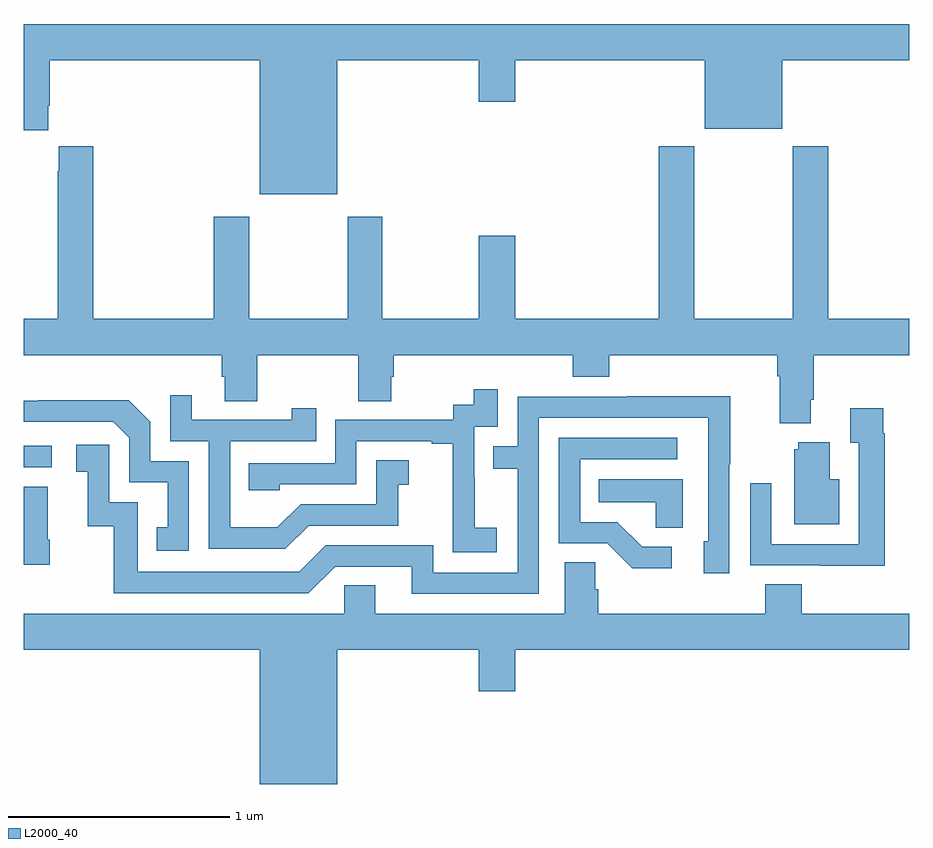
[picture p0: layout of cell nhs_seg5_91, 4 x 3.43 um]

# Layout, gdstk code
import gdstk
lib = gdstk.Library(unit=1e-6, precision=1e-09)
def R(c, l, rs):  # rectangles x0, y0, x1, y1
    for r in rs: c.add(gdstk.rectangle(r[:2], r[2:], *l))
def P(c, l, *ps):  # polygons
    for p in ps: c.add(gdstk.Polygon(p, *l))
L2000_40 = (2000, 40)

nhs_seg5_91 = lib.new_cell('nhs_seg5_91')
R(nhs_seg5_91, L2000_40, [(115,876.234,115.126,876.33)])
P(nhs_seg5_91, L2000_40, [(116.416,878.072),(117.056,878.072),(117.056,877.884),(117.22,877.884),(117.22,878.072),(118.076,878.072),(118.076,877.763),(118.426,877.763),(118.426,878.072),(119,878.072),(119,878.236),(115,878.236),(115,877.755),(115.111,877.755),(115.111,877.867),(115.118,877.867),(115.118,878.072),(116.066,878.072),(116.066,877.466),(116.416,877.466)],
  [(118.555,876.538),(118.568,876.538),(118.568,876.74),(119,876.74),(119,876.904),(118.634,876.904),(118.634,877.684),(118.474,877.684),(118.474,876.904),(118.029,876.904),(118.029,877.684),(117.869,877.684),(117.869,876.904),(117.22,876.904),(117.22,877.279),(117.056,877.279),(117.056,876.904),(116.619,876.904),(116.619,877.366),(116.464,877.366),(116.464,876.904),(116.019,876.904),(116.019,877.366),(115.859,877.366),(115.859,876.904),(115.313,876.904),(115.313,877.684),(115.157,877.684),(115.157,877.571),(115.153,877.571),(115.153,876.904),(115,876.904),(115,876.74),(115.895,876.74),(115.895,876.642),(115.907,876.642),(115.907,876.532),(116.055,876.532),(116.055,876.74),(116.512,876.74),(116.512,876.532),(116.659,876.532),(116.659,876.642),(116.672,876.642),(116.672,876.74),(117.479,876.74),(117.479,876.641),(117.644,876.641),(117.644,876.74),(118.403,876.74),(118.403,876.644),(118.415,876.644),(118.415,876.431),(118.555,876.431)],
  [(117.136,875.959),(117.038,875.959),(117.038,876.188),(117.036,876.188),(117.036,876.417),(117.141,876.417),(117.141,876.586),(117.033,876.586),(117.033,876.516),(116.94,876.516),(116.94,876.447),(116.406,876.447),(116.406,876.252),(116.017,876.252),(116.017,876.129),(116.157,876.129),(116.157,876.156),(116.502,876.156),(116.502,876.351),(116.843,876.351),(116.843,876.339),(116.939,876.339),(116.939,876.055),(116.938,876.055),(116.938,875.849),(117.136,875.849)],
  [(116.287,875.97),(116.691,875.97),(116.691,876.155),(116.74,876.155),(116.74,876.265),(116.592,876.265),(116.592,876.066),(116.25,876.066),(116.146,875.962),(115.932,875.962),(115.932,876.351),(116.321,876.351),(116.321,876.499),(116.21,876.499),(116.21,876.447),(115.759,876.447),(115.759,876.559),(115.662,876.559),(115.662,876.351),(115.836,876.351),(115.836,875.865),(116.182,875.865)],
  [(117.327,876.456),(118.092,876.456),(118.092,875.898),(118.073,875.898),(118.073,875.754),(118.188,875.754),(118.188,876.247),(118.191,876.247),(118.191,876.554),(117.727,876.554),(117.727,876.552),(117.231,876.552),(117.231,876.327),(117.121,876.327),(117.121,876.226),(117.231,876.226),(117.231,875.757),(116.85,875.757),(116.85,875.88),(116.364,875.88),(116.244,875.76),(115.515,875.76),(115.515,876.075),(115.386,876.075),(115.386,876.334),(115.236,876.334),(115.236,876.213),(115.289,876.213),(115.289,875.967),(115.407,875.967),(115.407,875.664),(116.286,875.664),(116.406,875.784),(116.753,875.784),(116.753,875.661),(117.327,875.661)],
  [(115.746,876.261),(115.572,876.261),(115.572,876.438),(115.474,876.536),(115.066,876.536),(115.066,876.534),(115,876.534),(115,876.438),(115.404,876.438),(115.476,876.366),(115.476,876.165),(115.649,876.165),(115.649,875.961),(115.6,875.961),(115.6,875.856),(115.746,875.856)],
  [(118.889,876.386),(118.882,876.386),(118.882,876.499),(118.733,876.499),(118.733,876.343),(118.773,876.343),(118.773,875.886),(118.377,875.886),(118.377,876.16),(118.281,876.16),(118.281,875.79),(118.597,875.79),(118.597,875.789),(118.889,875.789)],
  [(117.928,875.874),(117.793,875.874),(117.682,875.985),(117.513,875.985),(117.513,876.27),(117.952,876.27),(117.952,876.366),(117.417,876.366),(117.417,875.889),(117.636,875.889),(117.749,875.777),(117.928,875.777)],
  [(118.684,876.178),(118.642,876.178),(118.642,876.346),(118.499,876.346),(118.499,876.315),(118.481,876.315),(118.481,875.975),(118.684,875.975)],
  [(117.976,876.178),(117.598,876.178),(117.598,876.074),(117.855,876.074),(117.855,875.959),(117.976,875.959)],
  [(115.116,875.905),(115.108,875.905),(115.108,876.145),(115,876.145),(115,875.793),(115.116,875.793)],
  [(116.416,875.408),(117.056,875.408),(117.056,875.22),(117.22,875.22),(117.22,875.408),(119,875.408),(119,875.572),(118.514,875.572),(118.514,875.705),(118.349,875.705),(118.349,875.572),(117.596,875.572),(117.596,875.681),(117.582,875.681),(117.582,875.804),(117.443,875.804),(117.443,875.572),(116.587,875.572),(116.587,875.699),(116.448,875.699),(116.448,875.572),(115,875.572),(115,875.408),(116.066,875.408),(116.066,874.802),(116.416,874.802)])

lib.write_gds('nhs_seg5_91.gds')
